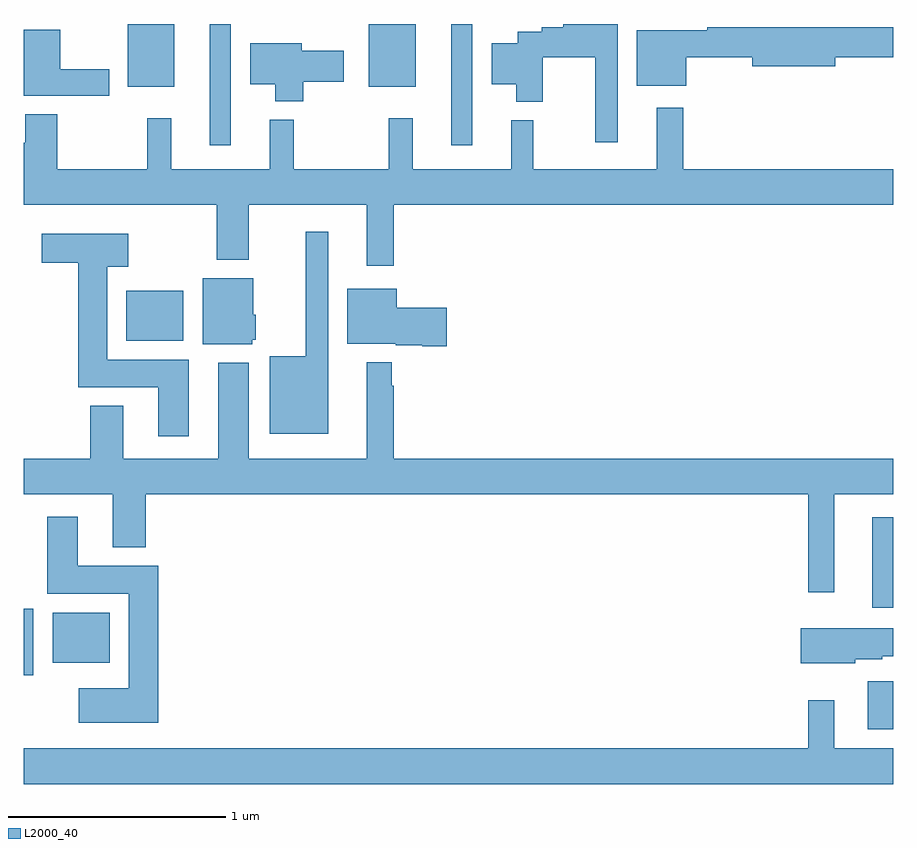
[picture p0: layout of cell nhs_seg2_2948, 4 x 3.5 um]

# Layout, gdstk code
import gdstk
lib = gdstk.Library(unit=1e-6, precision=1e-09)
def R(c, l, rs):  # rectangles x0, y0, x1, y1
    for r in rs: c.add(gdstk.rectangle(r[:2], r[2:], *l))
def P(c, l, *ps):  # polygons
    for p in ps: c.add(gdstk.Polygon(p, *l))
L2000_40 = (2000, 40)

nhs_seg2_2948 = lib.new_cell('nhs_seg2_2948')
R(nhs_seg2_2948, L2000_40, [(268.883,646.557,269,646.776), (265,646.805,265.045,647.11), (265.133,646.862,265.396,647.092), (268.904,647.114,269,647.53), (265.472,648.344,265.735,648.574), (265.856,649.242,265.953,649.8), (266.966,649.242,267.063,649.8), (265.478,649.511,265.693,649.8), (266.588,649.511,266.803,649.8)])
P(nhs_seg2_2948, L2000_40, [(267.733,649.8),(267.482,649.8),(267.482,649.784),(267.384,649.784),(267.384,649.764),(267.272,649.764),(267.272,649.711),(267.152,649.711),(267.152,649.523),(267.266,649.523),(267.266,649.442),(267.388,649.442),(267.388,649.648),(267.629,649.648),(267.629,649.257),(267.733,649.257)],
  [(268.048,649.648),(268.352,649.648),(268.352,649.606),(268.732,649.606),(268.732,649.648),(269,649.648),(269,649.784),(268.144,649.784),(268.144,649.771),(267.821,649.771),(267.821,649.517),(268.048,649.517)],
  [(265.393,649.591),(265.168,649.591),(265.168,649.774),(265,649.774),(265,649.469),(265.393,649.469)],
  [(266.286,649.534),(266.473,649.534),(266.473,649.676),(266.278,649.676),(266.278,649.711),(266.042,649.711),(266.042,649.523),(266.156,649.523),(266.156,649.445),(266.286,649.445)],
  [(266.701,648.968),(269,648.968),(269,649.132),(268.033,649.132),(268.033,649.414),(267.911,649.414),(267.911,649.132),(267.344,649.132),(267.344,649.357),(267.242,649.357),(267.242,649.132),(266.789,649.132),(266.789,649.366),(266.679,649.366),(266.679,649.132),(266.242,649.132),(266.242,649.36),(266.132,649.36),(266.132,649.132),(265.679,649.132),(265.679,649.366),(265.569,649.366),(265.569,649.132),(265.155,649.132),(265.155,649.384),(265.007,649.384),(265.007,649.253),(265,649.253),(265,648.968),(265.888,648.968),(265.888,648.716),(266.035,648.716),(266.035,648.968),(266.579,648.968),(266.579,648.687),(266.701,648.687)],
  [(266.401,648.844),(266.297,648.844),(266.297,648.271),(266.132,648.271),(266.132,647.915),(266.401,647.915)],
  [(265.759,648.256),(265.384,648.256),(265.384,648.683),(265.48,648.683),(265.48,648.835),(265.083,648.835),(265.083,648.701),(265.25,648.701),(265.25,648.128),(265.619,648.128),(265.619,647.904),(265.759,647.904)],
  [(266.052,648.348),(266.068,648.348),(266.068,648.462),(266.056,648.462),(266.056,648.631),(265.823,648.631),(265.823,648.326),(266.052,648.326)],
  [(266.947,648.495),(266.716,648.495),(266.716,648.583),(266.489,648.583),(266.489,648.329),(266.712,648.329),(266.712,648.323),(266.834,648.323),(266.834,648.317),(266.947,648.317)],
  [(268.729,647.636),(269,647.636),(269,647.8),(266.701,647.8),(266.701,648.137),(266.693,648.137),(266.693,648.244),(266.579,648.244),(266.579,647.8),(266.035,647.8),(266.035,648.241),(265.895,648.241),(265.895,647.8),(265.459,647.8),(265.459,648.043),(265.307,648.043),(265.307,647.8),(265,647.8),(265,647.636),(265.409,647.636),(265.409,647.393),(265.562,647.393),(265.562,647.636),(268.608,647.636),(268.608,647.187),(268.729,647.187)],
  [(265.619,647.308),(265.249,647.308),(265.249,647.533),(265.109,647.533),(265.109,647.18),(265.484,647.18),(265.484,646.744),(265.254,646.744),(265.254,646.586),(265.619,646.586)],
  [(268.824,646.877),(268.95,646.877),(268.95,646.891),(269,646.891),(269,647.02),(268.574,647.02),(268.574,646.859),(268.824,646.859)],
  [(269,646.468),(268.729,646.468),(268.729,646.69),(268.608,646.69),(268.608,646.468),(265,646.468),(265,646.304),(269,646.304)])

lib.write_gds('nhs_seg2_2948.gds')
